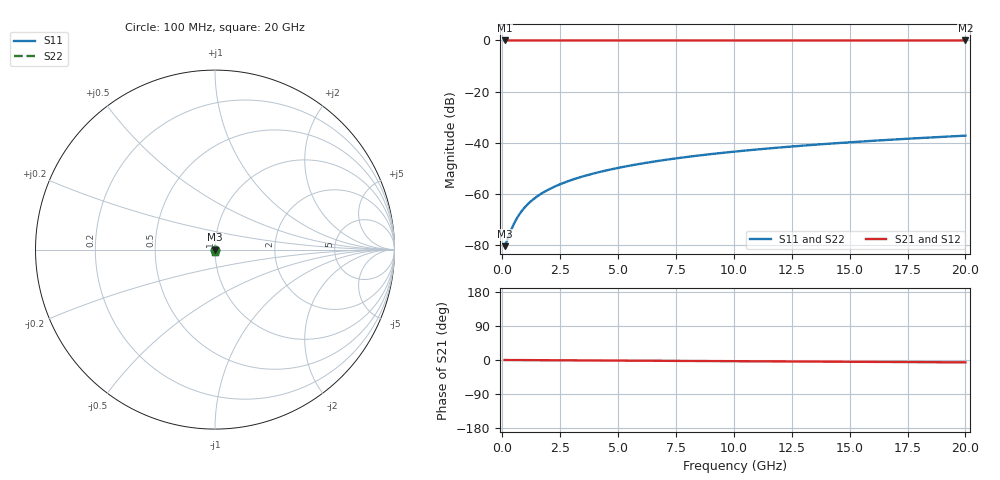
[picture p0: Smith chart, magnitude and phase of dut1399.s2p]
! Touchstone file exported from HFSS 2026.1.0
!  File:  C:/ffzhzh/LocalFiles/Ansys_Project_Files/temp_train_TSV_1399_1783196813_51560.aedt
!  Generated:  04:28:09 AM Jul  5, 2026
!  Design:  TSV
!  Project:  temp_train_TSV_1399_1783196813_51560
! Variables:
!  h_bsmrdl = 2um
!  h_ox = 20um
!  h_rdl = 5um
!  h_sub = 60.47um
!  h_tmrdl = 5um
!  h_tsv = 60.47um
!  h_via = 3um
!  l_bsmrdl = 300um
!  l_sub = 422.88um
!  l_tmrdl = 200um
!  m_sub = 200um
!  pitch = 40.4um
!  r_tsv = 11.44um
!  s_tmrdl = 10um
!  w_bsmrdl = 18um
!  w_sub = 500um
!  w_tmrdl = 12um
!  x_tsv_center1 = 206um
!  x_tsv_center2 = 524um
!  x_tsv_center3 = 736um
!  x_tsv_center4 = 1054um
!  x_tsv_center5 = 1266um
!  x_tsv_center6 = 1584um
# GHz S MA R 50.000000
! Terminal data exported
! Port[1] = TSV1_1_T1
! Port[2] = TSV1_1_T2
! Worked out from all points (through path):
!   200 points, 100 MHz to 20 GHz, reference 50 ohm
!   highest |S21| = 0.00 dB at 100 MHz (marker M1); lowest = 0.0 dB at 20 GHz (marker M2)
!   lowest |S11| = -80.6 dB at 100 MHz (marker M3), VSWR 1.00, Z = 50 - j0.00334 ohm
!   |S11| at or under -10 dB: start of sweep to end of sweep
!   |S22| runs from -80.6 to -37.3 dB; largest |S21 - S12| = 4.3e-15
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0.1  9.38e-05 -20.9  0.9999 -0.0  0.9999 -0.0  9.38e-05 -20.9
! Gamma 0 0 0 0
! Port Impedance 50 0 50 0
0.2  0.0001201 -35.3  0.9999 -0.1  0.9999 -0.1  0.0001201 -35.3
0.4  0.0002039 -49.8  0.9999 -0.1  0.9999 -0.1  0.0002039 -49.8
0.5  0.0002558 -53.9  0.9998 -0.2  0.9998 -0.2  0.0002558 -53.9
0.6  0.0003119 -57.1  0.9998 -0.2  0.9998 -0.2  0.0003119 -57.1
0.7  0.0003711 -59.7  0.9998 -0.2  0.9998 -0.2  0.0003711 -59.7
0.9  0.0004949 -64.0  0.9998 -0.3  0.9998 -0.3  0.0004949 -64.0
1.2  0.0006869 -68.5  0.9997 -0.4  0.9997 -0.4  0.0006869 -68.5
1.4  0.0008164 -70.8  0.9997 -0.4  0.9997 -0.4  0.0008164 -70.8
1.6  0.0009462 -72.7  0.9997 -0.5  0.9997 -0.5  0.0009462 -72.7
2.1  0.001271 -75.9  0.9997 -0.7  0.9997 -0.7  0.001271 -75.9
2.7  0.001663 -78.4  0.9996 -0.9  0.9996 -0.9  0.001663 -78.4
3.5  0.002191 -80.5  0.9996 -1.1  0.9996 -1.1  0.002191 -80.5
4.2  0.002657 -81.8  0.9996 -1.3  0.9996 -1.3  0.002657 -81.8
5  0.003196 -82.9  0.9995 -1.6  0.9995 -1.6  0.003196 -82.9
5.9  0.003809 -83.9  0.9995 -1.8  0.9995 -1.8  0.003809 -83.9
6.8  0.004427 -84.8  0.9994 -2.1  0.9994 -2.1  0.004427 -84.8
8.3  0.005463 -86.0  0.9994 -2.6  0.9994 -2.6  0.005463 -86.0
10.1  0.006715 -87.2  0.9993 -3.1  0.9993 -3.1  0.006715 -87.2
13.4  0.009021 -89.1  0.9992 -4.2  0.9992 -4.2  0.009021 -89.1
16.7  0.01134 -90.7  0.9991 -5.2  0.9991 -5.2  0.01134 -90.7
20  0.01367 -92.1  0.9989 -6.2  0.9989 -6.2  0.01367 -92.1
